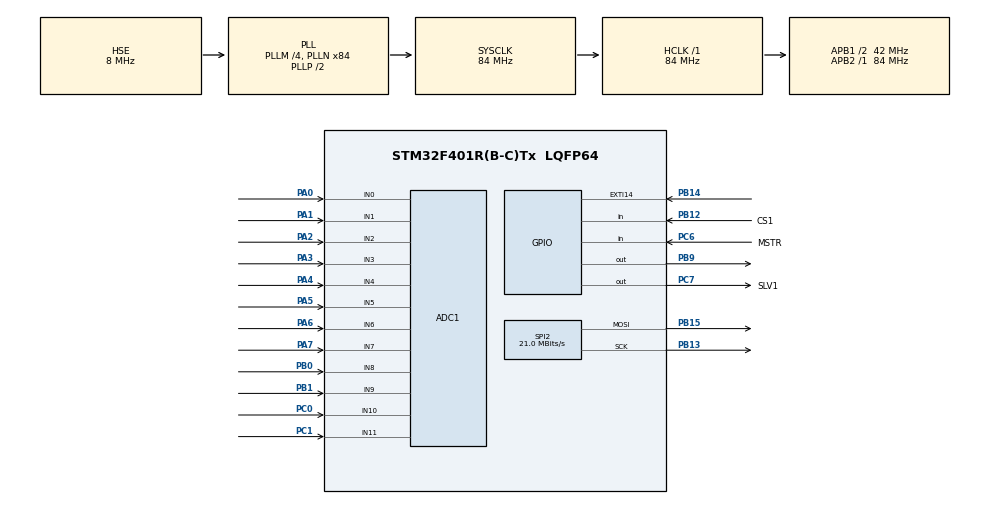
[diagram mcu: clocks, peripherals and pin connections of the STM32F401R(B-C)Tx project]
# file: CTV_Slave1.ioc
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ADC1.Channel-0\#ChannelRegularConversion=ADC_CHANNEL_10
ADC1.Channel-1\#ChannelRegularConversion=ADC_CHANNEL_11
ADC1.Channel-10\#ChannelRegularConversion=ADC_CHANNEL_8
ADC1.Channel-11\#ChannelRegularConversion=ADC_CHANNEL_9
ADC1.Channel-2\#ChannelRegularConversion=ADC_CHANNEL_0
ADC1.Channel-3\#ChannelRegularConversion=ADC_CHANNEL_1
ADC1.Channel-4\#ChannelRegularConversion=ADC_CHANNEL_2
ADC1.Channel-5\#ChannelRegularConversion=ADC_CHANNEL_3
ADC1.Channel-6\#ChannelRegularConversion=ADC_CHANNEL_4
ADC1.Channel-7\#ChannelRegularConversion=ADC_CHANNEL_5
ADC1.Channel-8\#ChannelRegularConversion=ADC_CHANNEL_6
ADC1.Channel-9\#ChannelRegularConversion=ADC_CHANNEL_7
ADC1.ContinuousConvMode=ENABLE
ADC1.DMAContinuousRequests=DISABLE
ADC1.DataAlign=ADC_DATAALIGN_RIGHT
ADC1.DiscontinuousConvMode=DISABLE
ADC1.InjNumberOfConversion=0
ADC1.NbrOfConversion=12
ADC1.NbrOfConversionFlag=1
ADC1.Rank-0\#ChannelRegularConversion=1
ADC1.Rank-1\#ChannelRegularConversion=2
ADC1.Rank-10\#ChannelRegularConversion=11
ADC1.Rank-11\#ChannelRegularConversion=12
ADC1.Rank-2\#ChannelRegularConversion=3
ADC1.Rank-3\#ChannelRegularConversion=4
ADC1.Rank-4\#ChannelRegularConversion=5
ADC1.Rank-5\#ChannelRegularConversion=6
ADC1.Rank-6\#ChannelRegularConversion=7
ADC1.Rank-7\#ChannelRegularConversion=8
ADC1.Rank-8\#ChannelRegularConversion=9
ADC1.Rank-9\#ChannelRegularConversion=10
ADC1.SamplingTime-0\#ChannelRegularConversion=ADC_SAMPLETIME_112CYCLES
ADC1.SamplingTime-1\#ChannelRegularConversion=ADC_SAMPLETIME_112CYCLES
ADC1.SamplingTime-10\#ChannelRegularConversion=ADC_SAMPLETIME_112CYCLES
ADC1.SamplingTime-11\#ChannelRegularConversion=ADC_SAMPLETIME_112CYCLES
ADC1.SamplingTime-2\#ChannelRegularConversion=ADC_SAMPLETIME_112CYCLES
ADC1.SamplingTime-3\#ChannelRegularConversion=ADC_SAMPLETIME_112CYCLES
ADC1.SamplingTime-4\#ChannelRegularConversion=ADC_SAMPLETIME_112CYCLES
ADC1.SamplingTime-5\#ChannelRegularConversion=ADC_SAMPLETIME_112CYCLES
ADC1.SamplingTime-6\#ChannelRegularConversion=ADC_SAMPLETIME_112CYCLES
ADC1.SamplingTime-7\#ChannelRegularConversion=ADC_SAMPLETIME_112CYCLES
ADC1.SamplingTime-8\#ChannelRegularConversion=ADC_SAMPLETIME_112CYCLES
ADC1.SamplingTime-9\#ChannelRegularConversion=ADC_SAMPLETIME_112CYCLES
ADC1.master=1
Mcu.Family=STM32F4
Mcu.Name=STM32F401R(B-C)Tx
Mcu.Package=LQFP64
NVIC.ADC_IRQn=true\:0\:0\:false\:false\:true\:true\:true
NVIC.EXTI15_10_IRQn=true\:0\:0\:false\:false\:true\:true\:true
NVIC.PriorityGroup=NVIC_PRIORITYGROUP_4
PA0-WKUP.Signal=ADCx_IN0
PA1.Signal=ADCx_IN1
PA13.Mode=Serial_Wire
PA13.Signal=SYS_JTMS-SWDIO
PA14.Mode=Serial_Wire
PA14.Signal=SYS_JTCK-SWCLK
PA2.Signal=ADCx_IN2
PA3.Signal=ADCx_IN3
PA4.Signal=ADCx_IN4
PA5.Signal=ADCx_IN5
PA6.Signal=ADCx_IN6
PA7.Signal=ADCx_IN7
PB0.Signal=ADCx_IN8
PB1.Signal=ADCx_IN9
PB12.GPIO_Label=CS1
PB12.Signal=GPIO_Input
PB13.Mode=TX_Only_Simplex_Unidirect_Master
PB13.Signal=SPI2_SCK
PB14.Signal=GPXTI14
PB15.Mode=TX_Only_Simplex_Unidirect_Master
PB15.Signal=SPI2_MOSI
PB3.Signal=SYS_JTDO-SWO
PB9.GPIO_PuPd=GPIO_PULLDOWN
PB9.GPIO_Speed=GPIO_SPEED_FREQ_MEDIUM
PB9.Signal=GPIO_Output
PC0.Signal=ADCx_IN10
PC1.Signal=ADCx_IN11
PC6.GPIO_Label=MSTR
PC6.Signal=GPIO_Input
PC7.GPIO_Label=SLV1
PC7.GPIO_PuPd=GPIO_PULLDOWN
PC7.GPIO_Speed=GPIO_SPEED_FREQ_MEDIUM
PC7.Signal=GPIO_Output
PH0\ -\ OSC_IN.Mode=HSE-External-Oscillator
PH0\ -\ OSC_IN.Signal=RCC_OSC_IN
PH1\ -\ OSC_OUT.Mode=HSE-External-Oscillator
PH1\ -\ OSC_OUT.Signal=RCC_OSC_OUT
ProjectManager.HeapSize=0x200
ProjectManager.StackSize=0x400
ProjectManager.TargetToolchain=STM32CubeIDE
RCC.48MHZClocksFreq_Value=42000000
RCC.AHBFreq_Value=84000000
RCC.APB1CLKDivider=RCC_HCLK_DIV2
RCC.APB1Freq_Value=42000000
RCC.APB1TimFreq_Value=84000000
RCC.APB2Freq_Value=84000000
RCC.APB2TimFreq_Value=84000000
RCC.CortexFreq_Value=84000000
RCC.HCLKFreq_Value=84000000
RCC.HSE_VALUE=8000000
RCC.HSI_VALUE=16000000
RCC.LSE_VALUE=32768
RCC.PLLM=4
RCC.PLLN=84
RCC.PLLSourceVirtual=RCC_PLLSOURCE_HSE
RCC.SYSCLKFreq_VALUE=84000000
RCC.SYSCLKSource=RCC_SYSCLKSOURCE_PLLCLK
RCC.VCOOutputFreq_Value=168000000
SH.ADCx_IN0.0=ADC1_IN0,IN0
SH.ADCx_IN1.0=ADC1_IN1,IN1
SH.ADCx_IN10.0=ADC1_IN10,IN10
SH.ADCx_IN11.0=ADC1_IN11,IN11
SH.ADCx_IN2.0=ADC1_IN2,IN2
SH.ADCx_IN3.0=ADC1_IN3,IN3
SH.ADCx_IN4.0=ADC1_IN4,IN4
SH.ADCx_IN5.0=ADC1_IN5,IN5
SH.ADCx_IN6.0=ADC1_IN6,IN6
SH.ADCx_IN7.0=ADC1_IN7,IN7
SH.ADCx_IN8.0=ADC1_IN8,IN8
SH.ADCx_IN9.0=ADC1_IN9,IN9
SPI2.BaudRatePrescaler=SPI_BAUDRATEPRESCALER_2
SPI2.CalculateBaudRate=21.0 MBits/s
SPI2.Direction=SPI_DIRECTION_2LINES
SPI2.Mode=SPI_MODE_MASTER
SPI2.VirtualType=VM_MASTER
board=custom

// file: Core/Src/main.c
/* USER CODE BEGIN Header */
/**
  ******************************************************************************
  * @file           : main.c
  * @brief          : Main program body
  ******************************************************************************
  * @attention
  *
  * Copyright (c) 2022 STMicroelectronics.
  * All rights reserved.
  *
  * This software is licensed under terms that can be found in the LICENSE file
  * in the root directory of this software component.
  * If no LICENSE file comes with this software, it is provided AS-IS.
  *
  ******************************************************************************
  */
/* USER CODE END Header */
#include "main.h"

/* USER CODE BEGIN PD */
#define portSLV1	GPIOC
#define pinSLV1H	7
#define pinSLV1L	(pinSLV1H+16)

#define  ARM_CM_DEMCR      (*(uint32_t *)0xE000EDFC)

#define  ARM_CM_DWT_CTRL   (*(uint32_t *)0xE0001000)

#define  ARM_CM_DWT_CYCCNT (*(uint32_t *)0xE0001004)
/* USER CODE END PD */

ADC_HandleTypeDef hadc1;

SPI_HandleTypeDef hspi2;

/* USER CODE BEGIN PV */
#define NUMBER_ADC_CHANNEL 12
#define NUMBER_ADC_CHANNEL_AVERAGE_PER_CHANNEL 1

uint16_t DMAhasilADC[NUMBER_ADC_CHANNEL * NUMBER_ADC_CHANNEL_AVERAGE_PER_CHANNEL];

//const int adcChCount = sizeof(DMAhasilADC) / sizeof(DMAhasilADC[0]);
int ConvOK = 0;
//uint16_t abc[6]; int abcd[6];
int Rx[6],positive,negative;
int debug_adc[12];

uint32_t  start;

uint32_t  stop;

uint32_t  delta;
/* USER CODE END PV */

void SystemClock_Config(void);
static void MX_GPIO_Init(void);
static void MX_ADC1_Init(void);
static void MX_SPI2_Init(void);
/* USER CODE BEGIN PFP */
int ADC_DMA_AVERAGE(int channel)
{
	int adc_sum;
	int i;

	adc_sum = 0;
	if(channel < NUMBER_ADC_CHANNEL )
	{
		for(i=0; i<NUMBER_ADC_CHANNEL_AVERAGE_PER_CHANNEL; i++)
			adc_sum += DMAhasilADC[channel+i*NUMBER_ADC_CHANNEL];
	}
	else
		return 1;

	adc_sum = adc_sum/NUMBER_ADC_CHANNEL_AVERAGE_PER_CHANNEL;
	return adc_sum;
}

void ADC_Select_Ch0(void)
{
	ADC_ChannelConfTypeDef sConfig = {0};
	/** Configure for the selected ADC regular channel its corresponding rank in the sequencer and its sample time.
	 */
	sConfig.Channel = ADC_CHANNEL_10;
	sConfig.Rank = 1;
	sConfig.SamplingTime = ADC_SAMPLETIME_15CYCLES;
	if (HAL_ADC_ConfigChannel(&hadc1, &sConfig) != HAL_OK)
	{
		Error_Handler();
	}
}

void ADC_Select_Ch1(void)
{
	ADC_ChannelConfTypeDef sConfig = {0};
	/** Configure for the selected ADC regular channel its corresponding rank in the sequencer and its sample time.
	 */
	sConfig.Channel = ADC_CHANNEL_11;
	sConfig.Rank = 1;
	sConfig.SamplingTime = ADC_SAMPLETIME_15CYCLES;
	if (HAL_ADC_ConfigChannel(&hadc1, &sConfig) != HAL_OK)
	{
		Error_Handler();
	}
}

void ADC_Select_Ch2(void)
{
	ADC_ChannelConfTypeDef sConfig = {0};
	/** Configure for the selected ADC regular channel its corresponding rank in the sequencer and its sample time.
	 */
	sConfig.Channel = ADC_CHANNEL_0;
	sConfig.Rank = 1;
	sConfig.SamplingTime = ADC_SAMPLETIME_15CYCLES;
	if (HAL_ADC_ConfigChannel(&hadc1, &sConfig) != HAL_OK)
	{
		Error_Handler();
	}
}

void ADC_Select_Ch3(void)
{
	ADC_ChannelConfTypeDef sConfig = {0};
	/** Configure for the selected ADC regular channel its corresponding rank in the sequencer and its sample time.
	 */
	sConfig.Channel = ADC_CHANNEL_1;
	sConfig.Rank = 1;
	sConfig.SamplingTime = ADC_SAMPLETIME_15CYCLES;
	if (HAL_ADC_ConfigChannel(&hadc1, &sConfig) != HAL_OK)
	{
		Error_Handler();
	}
}

void ADC_Select_Ch4(void)
{
	ADC_ChannelConfTypeDef sConfig = {0};
	/** Configure for the selected ADC regular channel its corresponding rank in the sequencer and its sample time.
	 */
	sConfig.Channel = ADC_CHANNEL_2;
	sConfig.Rank = 1;
	sConfig.SamplingTime = ADC_SAMPLETIME_15CYCLES;
	if (HAL_ADC_ConfigChannel(&hadc1, &sConfig) != HAL_OK)
	{
		Error_Handler();
	}
}

void ADC_Select_Ch5(void)
{
	ADC_ChannelConfTypeDef sConfig = {0};
	/** Configure for the selected ADC regular channel its corresponding rank in the sequencer and its sample time.
	 */
	sConfig.Channel = ADC_CHANNEL_3;
	sConfig.Rank = 1;
	sConfig.SamplingTime = ADC_SAMPLETIME_15CYCLES;
	if (HAL_ADC_ConfigChannel(&hadc1, &sConfig) != HAL_OK)
	{
		Error_Handler();
	}
}

void ADC_Select_Ch6(void)
{
	ADC_ChannelConfTypeDef sConfig = {0};
	/** Configure for the selected ADC regular channel its corresponding rank in the sequencer and its sample time.
	 */
	sConfig.Channel = ADC_CHANNEL_4;
	sConfig.Rank = 1;
	sConfig.SamplingTime = ADC_SAMPLETIME_15CYCLES;
	if (HAL_ADC_ConfigChannel(&hadc1, &sConfig) != HAL_OK)
	{
		Error_Handler();
	}
}

void ADC_Select_Ch7(void)
{
	ADC_ChannelConfTypeDef sConfig = {0};
	/** Configure for the selected ADC regular channel its corresponding rank in the sequencer and its sample time.
	 */
	sConfig.Channel = ADC_CHANNEL_5;
	sConfig.Rank = 1;
	sConfig.SamplingTime = ADC_SAMPLETIME_15CYCLES;
	if (HAL_ADC_ConfigChannel(&hadc1, &sConfig) != HAL_OK)
	{
		Error_Handler();
	}
}

void ADC_Select_Ch8(void)
{
	ADC_ChannelConfTypeDef sConfig = {0};
	/** Configure for the selected ADC regular channel its corresponding rank in the sequencer and its sample time.
	 */
	sConfig.Channel = ADC_CHANNEL_6;
	sConfig.Rank = 1;
	sConfig.SamplingTime = ADC_SAMPLETIME_15CYCLES;
	if (HAL_ADC_ConfigChannel(&hadc1, &sConfig) != HAL_OK)
	{
		Error_Handler();
	}
}

void ADC_Select_Ch9(void)
{
	ADC_ChannelConfTypeDef sConfig = {0};
	/** Configure for the selected ADC regular channel its corresponding rank in the sequencer and its sample time.
	 */
	sConfig.Channel = ADC_CHANNEL_7;
	sConfig.Rank = 1;
	sConfig.SamplingTime = ADC_SAMPLETIME_15CYCLES;
	if (HAL_ADC_ConfigChannel(&hadc1, &sConfig) != HAL_OK)
	{
		Error_Handler();
	}
}

void ADC_Select_Ch10(void)
{
	ADC_ChannelConfTypeDef sConfig = {0};
	/** Configure for the selected ADC regular channel its corresponding rank in the sequencer and its sample time.
	 */
	sConfig.Channel = ADC_CHANNEL_8;
	sConfig.Rank = 1;
	sConfig.SamplingTime = ADC_SAMPLETIME_15CYCLES;
	if (HAL_ADC_ConfigChannel(&hadc1, &sConfig) != HAL_OK)
	{
		Error_Handler();
	}
}

void ADC_Select_Ch11(void)
{
	ADC_ChannelConfTypeDef sConfig = {0};
	/** Configure for the selected ADC regular channel its corresponding rank in the sequencer and its sample time.
	 */
	sConfig.Channel = ADC_CHANNEL_9;
	sConfig.Rank = 1;
	sConfig.SamplingTime = ADC_SAMPLETIME_15CYCLES;
	if (HAL_ADC_ConfigChannel(&hadc1, &sConfig) != HAL_OK)
	{
		Error_Handler();
	}
}

/* USER CODE END PFP */

int main(void)
{

  /* MCU Configuration--------------------------------------------------------*/

  /* Reset of all peripherals, Initializes the Flash interface and the Systick. */
  HAL_Init();

  /* Configure the system clock */
  SystemClock_Config();

  /* Initialize all configured peripherals */
  MX_GPIO_Init();
  MX_ADC1_Init();
  MX_SPI2_Init();

  /* Infinite loop */
  /* USER CODE BEGIN WHILE */
  if (ARM_CM_DWT_CTRL != 0) {        // See if DWT is available

	  ARM_CM_DEMCR      |= 1 << 24;  // Set bit 24

	  ARM_CM_DWT_CYCCNT  = 0;

	  ARM_CM_DWT_CTRL   |= 1 << 0;   // Set bit 0
  }
//  HAL_ADC_Start_DMA(&hadc1, (uint32_t*)DMAhasilADC, sizeof(DMAhasilADC));
  while (1)
  {
	  //===== WAIT READ ADC CMD =====
	  while(HAL_GPIO_ReadPin(MSTR_GPIO_Port, MSTR_Pin) == 0){}
	  //===== READING ADC =====
	  ADC_Select_Ch0();
	  HAL_ADC_Start(&hadc1);
	  HAL_ADC_PollForConversion(&hadc1, 1000);
	  debug_adc[0] = HAL_ADC_GetValue(&hadc1);
//	  HAL_ADC_Stop(&hadc1);

	  ADC_Select_Ch1();
	  HAL_ADC_Start(&hadc1);
	  HAL_ADC_PollForConversion(&hadc1, 1000);
	  debug_adc[1] = HAL_ADC_GetValue(&hadc1);
//	  HAL_ADC_Stop(&hadc1);
//	  debug_adc[0] = positive;
//	  debug_adc[1] = negative;
//	  Rx[0] = positive - negative;

	  ADC_Select_Ch2();
	  HAL_ADC_Start(&hadc1);
	  HAL_ADC_PollForConversion(&hadc1, 1000);
	  debug_adc[2] = HAL_ADC_GetValue(&hadc1);
//	  HAL_ADC_Stop(&hadc1);

	  ADC_Select_Ch3();
	  HAL_ADC_Start(&hadc1);
	  HAL_ADC_PollForConversion(&hadc1, 1000);
	  debug_adc[3] = HAL_ADC_GetValue(&hadc1);
//	  HAL_ADC_Stop(&hadc1);
//	  debug_adc[2] = positive;
//	  debug_adc[3] = negative;
//	  Rx[1] = positive - negative;

	  ADC_Select_Ch4();
	  HAL_ADC_Start(&hadc1);
	  HAL_ADC_PollForConversion(&hadc1, 1000);
	  debug_adc[4] = HAL_ADC_GetValue(&hadc1);
//	  HAL_ADC_Stop(&hadc1);

	  ADC_Select_Ch5();
	  HAL_ADC_Start(&hadc1);
	  HAL_ADC_PollForConversion(&hadc1, 1000);
	  debug_adc[5] = HAL_ADC_GetValue(&hadc1);
//	  HAL_ADC_Stop(&hadc1);
//	  debug_adc[4] = positive;
//	  debug_adc[5] = negative;
//	  Rx[2] = positive - negative;

	  ADC_Select_Ch6();
	  HAL_ADC_Start(&hadc1);
	  HAL_ADC_PollForConversion(&hadc1, 1000);
	  debug_adc[6] = HAL_ADC_GetValue(&hadc1);
//	  HAL_ADC_Stop(&hadc1);

	  ADC_Select_Ch7();
	  HAL_ADC_Start(&hadc1);
	  HAL_ADC_PollForConversion(&hadc1, 1000);
	  debug_adc[7] = HAL_ADC_GetValue(&hadc1);
//	  HAL_ADC_Stop(&hadc1);
//	  debug_adc[6] = positive;
//	  debug_adc[7] = negative;
//	  Rx[3] = positive - negative;

	  ADC_Select_Ch8();
	  HAL_ADC_Start(&hadc1);
	  HAL_ADC_PollForConversion(&hadc1, 1000);
	  debug_adc[8] = HAL_ADC_GetValue(&hadc1);
//	  HAL_ADC_Stop(&hadc1);

	  ADC_Select_Ch9();
	  HAL_ADC_Start(&hadc1);
	  HAL_ADC_PollForConversion(&hadc1, 1000);
	  debug_adc[9] = HAL_ADC_GetValue(&hadc1);
//	  HAL_ADC_Stop(&hadc1);
//	  debug_adc[8] = positive;
//	  debug_adc[9] = negative;
//	  Rx[4] = positive - negative;

	  ADC_Select_Ch10();
	  HAL_ADC_Start(&hadc1);
	  HAL_ADC_PollForConversion(&hadc1, 1000);
	  debug_adc[10] = HAL_ADC_GetValue(&hadc1);
//	  HAL_ADC_Stop(&hadc1);

	  ADC_Select_Ch11();
	  HAL_ADC_Start(&hadc1);
	  HAL_ADC_PollForConversion(&hadc1, 1000);
	  debug_adc[11] = HAL_ADC_GetValue(&hadc1);
//	  HAL_ADC_Stop(&hadc1);
//	  debug_adc[10] = positive;
//	  debug_adc[11] = negative;
//	  Rx[5] = positive - negative;

	  //start = ARM_CM_DWT_CYCCNT;
	  //HAL_Delay(2);

//	  while(ConvOK == 0){}
//	  ConvOK = 0;
//	  Rx[0] = debug_adc[0] - debug_adc[1];
//	  Rx[1] = debug_adc[2] - debug_adc[3];
//	  Rx[2] = debug_adc[4] - debug_adc[5];
//	  Rx[3] = debug_adc[6] - debug_adc[7];
//	  Rx[4] = debug_adc[8] - debug_adc[9];
//	  Rx[5] = debug_adc[10] - debug_adc[11];

	  //stop  = ARM_CM_DWT_CYCCNT;

	  //delta = stop - start;

	  //Send ADC Finish Signal (PIN SLV1)
	  //portSLV1->BSRR |= (1<<pinSLV1H);

	  HAL_SPI_Transmit(&hspi2, (uint8_t *)debug_adc, sizeof(debug_adc), 5000);

	  while(HAL_GPIO_ReadPin(CS1_GPIO_Port, CS1_Pin) == 0){}

	  asm("NOP");

	  //Turn Off the whole Signal
	  //portSLV1->BSRR |= (1<<pinSLV1L);

	  //waiting falling edge
	  while(HAL_GPIO_ReadPin(MSTR_GPIO_Port, MSTR_Pin) == 1){}

    /* USER CODE END WHILE */

  }
}

void SystemClock_Config(void)
{
  RCC_OscInitTypeDef RCC_OscInitStruct = {0};
  RCC_ClkInitTypeDef RCC_ClkInitStruct = {0};

  /** Configure the main internal regulator output voltage
  */
  __HAL_RCC_PWR_CLK_ENABLE();
  __HAL_PWR_VOLTAGESCALING_CONFIG(PWR_REGULATOR_VOLTAGE_SCALE2);
  /** Initializes the RCC Oscillators according to the specified parameters
  * in the RCC_OscInitTypeDef structure.
  */
  RCC_OscInitStruct.OscillatorType = RCC_OSCILLATORTYPE_HSE;
  RCC_OscInitStruct.HSEState = RCC_HSE_ON;
  RCC_OscInitStruct.PLL.PLLState = RCC_PLL_ON;
  RCC_OscInitStruct.PLL.PLLSource = RCC_PLLSOURCE_HSE;
  RCC_OscInitStruct.PLL.PLLM = 4;
  RCC_OscInitStruct.PLL.PLLN = 84;
  RCC_OscInitStruct.PLL.PLLP = RCC_PLLP_DIV2;
  RCC_OscInitStruct.PLL.PLLQ = 4;
  if (HAL_RCC_OscConfig(&RCC_OscInitStruct) != HAL_OK)
  {
    Error_Handler();
  }
  /** Initializes the CPU, AHB and APB buses clocks
  */
  RCC_ClkInitStruct.ClockType = RCC_CLOCKTYPE_HCLK|RCC_CLOCKTYPE_SYSCLK
                              |RCC_CLOCKTYPE_PCLK1|RCC_CLOCKTYPE_PCLK2;
  RCC_ClkInitStruct.SYSCLKSource = RCC_SYSCLKSOURCE_PLLCLK;
  RCC_ClkInitStruct.AHBCLKDivider = RCC_SYSCLK_DIV1;
  RCC_ClkInitStruct.APB1CLKDivider = RCC_HCLK_DIV2;
  RCC_ClkInitStruct.APB2CLKDivider = RCC_HCLK_DIV1;

  if (HAL_RCC_ClockConfig(&RCC_ClkInitStruct, FLASH_LATENCY_2) != HAL_OK)
  {
    Error_Handler();
  }
}

static void MX_ADC1_Init(void)
{

  ADC_ChannelConfTypeDef sConfig = {0};

  /** Configure the global features of the ADC (Clock, Resolution, Data Alignment and number of conversion)
  */
  hadc1.Instance = ADC1;
  hadc1.Init.ClockPrescaler = ADC_CLOCK_SYNC_PCLK_DIV4;
  hadc1.Init.Resolution = ADC_RESOLUTION_12B;
  hadc1.Init.ScanConvMode = ENABLE;
  hadc1.Init.ContinuousConvMode = ENABLE;
  hadc1.Init.DiscontinuousConvMode = DISABLE;
  hadc1.Init.ExternalTrigConvEdge = ADC_EXTERNALTRIGCONVEDGE_NONE;
  hadc1.Init.ExternalTrigConv = ADC_SOFTWARE_START;
  hadc1.Init.DataAlign = ADC_DATAALIGN_RIGHT;
  hadc1.Init.NbrOfConversion = 12;
  hadc1.Init.DMAContinuousRequests = DISABLE;
  hadc1.Init.EOCSelection = ADC_EOC_SINGLE_CONV;
  if (HAL_ADC_Init(&hadc1) != HAL_OK)
  {
    Error_Handler();
  }
  /** Configure for the selected ADC regular channel its corresponding rank in the sequencer and its sample time.
  */
  sConfig.Channel = ADC_CHANNEL_10;
  sConfig.Rank = 1;
  sConfig.SamplingTime = ADC_SAMPLETIME_112CYCLES;
  if (HAL_ADC_ConfigChannel(&hadc1, &sConfig) != HAL_OK)
  {
    Error_Handler();
  }
  /** Configure for the selected ADC regular channel its corresponding rank in the sequencer and its sample time.
  */
  sConfig.Channel = ADC_CHANNEL_11;
  sConfig.Rank = 2;
  if (HAL_ADC_ConfigChannel(&hadc1, &sConfig) != HAL_OK)
  {
    Error_Handler();
  }

}

static void MX_SPI2_Init(void)
{

  /* SPI2 parameter configuration*/
  hspi2.Instance = SPI2;
  hspi2.Init.Mode = SPI_MODE_MASTER;
  hspi2.Init.Direction = SPI_DIRECTION_2LINES;
  hspi2.Init.DataSize = SPI_DATASIZE_8BIT;
  hspi2.Init.CLKPolarity = SPI_POLARITY_LOW;
  hspi2.Init.CLKPhase = SPI_PHASE_1EDGE;
  hspi2.Init.NSS = SPI_NSS_SOFT;
  hspi2.Init.BaudRatePrescaler = SPI_BAUDRATEPRESCALER_2;
  hspi2.Init.FirstBit = SPI_FIRSTBIT_MSB;
  hspi2.Init.TIMode = SPI_TIMODE_DISABLE;
  hspi2.Init.CRCCalculation = SPI_CRCCALCULATION_DISABLE;
  hspi2.Init.CRCPolynomial = 10;
  if (HAL_SPI_Init(&hspi2) != HAL_OK)
  {
    Error_Handler();
  }

}

static void MX_GPIO_Init(void)
{
  GPIO_InitTypeDef GPIO_InitStruct = {0};

  /* GPIO Ports Clock Enable */
  __HAL_RCC_GPIOC_CLK_ENABLE();
  __HAL_RCC_GPIOH_CLK_ENABLE();
  __HAL_RCC_GPIOA_CLK_ENABLE();
  __HAL_RCC_GPIOB_CLK_ENABLE();
  __HAL_RCC_GPIOD_CLK_ENABLE();

  /*Configure GPIO pin Output Level */
  HAL_GPIO_WritePin(SLV1_GPIO_Port, SLV1_Pin, GPIO_PIN_RESET);

  /*Configure GPIO pin Output Level */
  HAL_GPIO_WritePin(GPIOB, GPIO_PIN_9, GPIO_PIN_RESET);

  /*Configure GPIO pins : PC13 PC14 PC15 PC2
                           PC3 PC4 PC5 PC8
                           PC9 PC10 PC11 PC12 */
  GPIO_InitStruct.Pin = GPIO_PIN_13|GPIO_PIN_14|GPIO_PIN_15|GPIO_PIN_2
                          |GPIO_PIN_3|GPIO_PIN_4|GPIO_PIN_5|GPIO_PIN_8
                          |GPIO_PIN_9|GPIO_PIN_10|GPIO_PIN_11|GPIO_PIN_12;
  GPIO_InitStruct.Mode = GPIO_MODE_ANALOG;
  GPIO_InitStruct.Pull = GPIO_NOPULL;
  HAL_GPIO_Init(GPIOC, &GPIO_InitStruct);

  /*Configure GPIO pins : PB2 PB10 PB4 PB5
                           PB6 PB7 PB8 */
  GPIO_InitStruct.Pin = GPIO_PIN_2|GPIO_PIN_10|GPIO_PIN_4|GPIO_PIN_5
                          |GPIO_PIN_6|GPIO_PIN_7|GPIO_PIN_8;
  GPIO_InitStruct.Mode = GPIO_MODE_ANALOG;
  GPIO_InitStruct.Pull = GPIO_NOPULL;
  HAL_GPIO_Init(GPIOB, &GPIO_InitStruct);

  /*Configure GPIO pin : CS1_Pin */
  GPIO_InitStruct.Pin = CS1_Pin;
  GPIO_InitStruct.Mode = GPIO_MODE_INPUT;
  GPIO_InitStruct.Pull = GPIO_NOPULL;
  HAL_GPIO_Init(CS1_GPIO_Port, &GPIO_InitStruct);

  /*Configure GPIO pin : PB14 */
  GPIO_InitStruct.Pin = GPIO_PIN_14;
  GPIO_InitStruct.Mode = GPIO_MODE_IT_RISING;
  GPIO_InitStruct.Pull = GPIO_NOPULL;
  HAL_GPIO_Init(GPIOB, &GPIO_InitStruct);

  /*Configure GPIO pin : MSTR_Pin */
  GPIO_InitStruct.Pin = MSTR_Pin;
  GPIO_InitStruct.Mode = GPIO_MODE_INPUT;
  GPIO_InitStruct.Pull = GPIO_NOPULL;
  HAL_GPIO_Init(MSTR_GPIO_Port, &GPIO_InitStruct);

  /*Configure GPIO pin : SLV1_Pin */
  GPIO_InitStruct.Pin = SLV1_Pin;
  GPIO_InitStruct.Mode = GPIO_MODE_OUTPUT_PP;
  GPIO_InitStruct.Pull = GPIO_PULLDOWN;
  GPIO_InitStruct.Speed = GPIO_SPEED_FREQ_MEDIUM;
  HAL_GPIO_Init(SLV1_GPIO_Port, &GPIO_InitStruct);

  /*Configure GPIO pins : PA8 PA9 PA10 PA11
                           PA12 PA15 */
  GPIO_InitStruct.Pin = GPIO_PIN_8|GPIO_PIN_9|GPIO_PIN_10|GPIO_PIN_11
                          |GPIO_PIN_12|GPIO_PIN_15;
  GPIO_InitStruct.Mode = GPIO_MODE_ANALOG;
  GPIO_InitStruct.Pull = GPIO_NOPULL;
  HAL_GPIO_Init(GPIOA, &GPIO_InitStruct);

  /*Configure GPIO pin : PD2 */
  GPIO_InitStruct.Pin = GPIO_PIN_2;
  GPIO_InitStruct.Mode = GPIO_MODE_ANALOG;
  GPIO_InitStruct.Pull = GPIO_NOPULL;
  HAL_GPIO_Init(GPIOD, &GPIO_InitStruct);

  /*Configure GPIO pin : PB9 */
  GPIO_InitStruct.Pin = GPIO_PIN_9;
  GPIO_InitStruct.Mode = GPIO_MODE_OUTPUT_PP;
  GPIO_InitStruct.Pull = GPIO_PULLDOWN;
  GPIO_InitStruct.Speed = GPIO_SPEED_FREQ_MEDIUM;
  HAL_GPIO_Init(GPIOB, &GPIO_InitStruct);

  /* EXTI interrupt init*/
  HAL_NVIC_SetPriority(EXTI15_10_IRQn, 0, 0);
  HAL_NVIC_EnableIRQ(EXTI15_10_IRQn);

}

/* USER CODE BEGIN 4 */
void HAL_ADC_ConvHalfCpltCallback(ADC_HandleTypeDef* hadc)
{

}

void HAL_GPIO_EXTI_Callback(uint16_t GPIO_Pin)
{
  if(GPIO_Pin == GPIO_PIN_14)
  {
	  HAL_SPI_DeInit(&hspi2);
	  HAL_NVIC_SystemReset();
  }
}

void HAL_ADC_ConvCpltCallback(ADC_HandleTypeDef* hadc)
{
	UNUSED(hadc);
	debug_adc[0] = DMAhasilADC[0];
	debug_adc[1] = DMAhasilADC[1];
	debug_adc[2] = DMAhasilADC[2];
	debug_adc[3] = DMAhasilADC[3];
	debug_adc[4] = DMAhasilADC[4];
	debug_adc[5] = DMAhasilADC[5];
	debug_adc[6] = DMAhasilADC[6];
	debug_adc[7] = DMAhasilADC[7];
	debug_adc[8] = DMAhasilADC[8];
	debug_adc[9] = DMAhasilADC[9];
	debug_adc[10] = DMAhasilADC[10];
	debug_adc[11] = DMAhasilADC[11];
//	debug_adc[0] = ADC_DMA_AVERAGE(0);
//	debug_adc[1] = ADC_DMA_AVERAGE(1);
//	debug_adc[2] = ADC_DMA_AVERAGE(2);
//	debug_adc[3] = ADC_DMA_AVERAGE(3);
//	debug_adc[4] = ADC_DMA_AVERAGE(4);
//	debug_adc[5] = ADC_DMA_AVERAGE(5);
//	debug_adc[6] = ADC_DMA_AVERAGE(6);
//	debug_adc[7] = ADC_DMA_AVERAGE(7);
//	debug_adc[8] = ADC_DMA_AVERAGE(8);
//	debug_adc[9] = ADC_DMA_AVERAGE(9);
//	debug_adc[10] = ADC_DMA_AVERAGE(10);
//	debug_adc[11] = ADC_DMA_AVERAGE(11);

//	Rx[0] = debug_adc[0] - debug_adc[1];
//	Rx[1] = debug_adc[2] - debug_adc[3];
//	Rx[2] = debug_adc[4] - debug_adc[5];
//	Rx[3] = debug_adc[6] - debug_adc[7];
//	Rx[4] = debug_adc[8] - debug_adc[9];
//	Rx[5] = debug_adc[10] - debug_adc[11];

	ConvOK = 1;
}
/* USER CODE END 4 */

void Error_Handler(void)
{
  __disable_irq();
  while (1)
  {
  }
}
